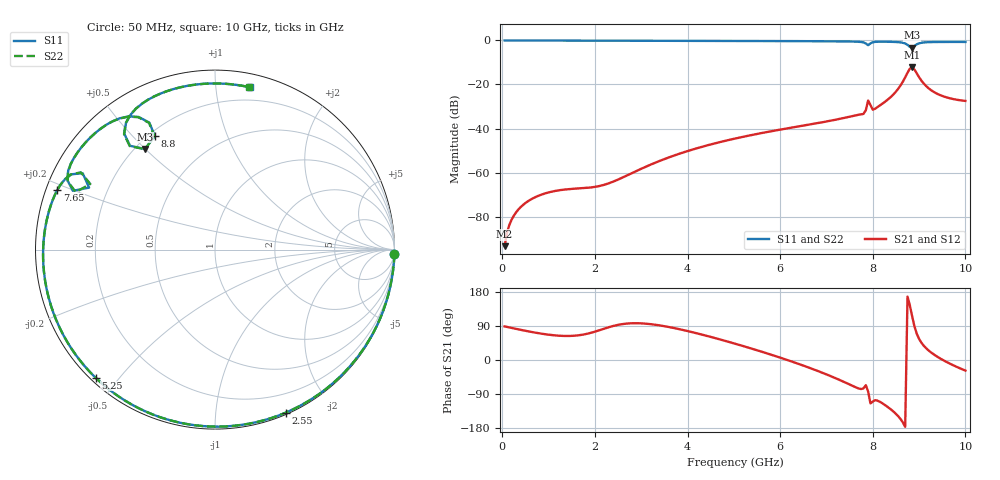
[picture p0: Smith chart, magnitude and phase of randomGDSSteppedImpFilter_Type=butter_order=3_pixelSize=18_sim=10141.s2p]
! freq	dB(S11)	phase(S11)	dB(S12)	phase(S12)
!  dB(S21)	phase(S21)	dB(S22)	phase(S22)
!S-par simulation data
#  GHz  S  DB  R 50
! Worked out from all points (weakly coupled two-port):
!   200 points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, 50 MHz to 10 GHz, reference 50 ohm
!   highest |S21| = -12.22 dB at 8.85 GHz (marker M1); lowest = -93.4 dB at 50 MHz (marker M2)
!   lowest |S11| = -3.3 dB at 8.85 GHz (marker M3), VSWR 5.30, Z = 11.9 + j25 ohm
!   |S11| at or under -10 dB: nowhere
!   |S22| runs from -3.3 to 0.0 dB; largest |S21 - S12| = 0
!   S11 on the Smith chart (normalised r, x): 50 MHz: 0, -85; 2.55 GHz: 0.02, -1.52; 5.25 GHz: 0.01, -0.43; 7.65 GHz: 0.03, +0.18; 8.8 GHz: 0.22, +0.58; 10 GHz: 0.10, +1.23
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0.05  -0.00 -1.4  -93.45 88.6  -93.45 88.6  -0.00 -1.4
0.25  -0.01 -6.7  -79.56 83.4  -79.56 83.4  -0.01 -6.7
0.5  -0.02 -13.4  -73.84 77.1  -73.84 77.1  -0.02 -13.4
0.85  -0.03 -22.6  -69.99 69.4  -69.99 69.4  -0.03 -22.6
1.75  -0.06 -46.1  -67.08 67.1  -67.08 67.1  -0.06 -46.1
2.55  -0.09 -66.5  -62.72 93.9  -62.72 93.9  -0.09 -66.5
3.4  -0.12 -87.6  -54.70 91.3  -54.70 91.3  -0.12 -87.6
5.05  -0.20 -128.1  -44.45 42.2  -44.45 42.2  -0.20 -128.0
5.25  -0.21 -133.0  -43.54 35.0  -43.54 35.0  -0.21 -133.0
6.7  -0.34 -171.0  -37.94 -23.7  -37.94 -23.7  -0.34 -170.9
7.65  -0.55 159.2  -33.92 -73.0  -33.92 -73.0  -0.54 159.4
7.8  -0.89 152.3  -33.35 -74.8  -33.35 -74.8  -0.85 152.6
7.85  -1.40 150.0  -31.67 -66.5  -31.67 -66.5  -1.29 150.1
7.9  -2.14 153.8  -27.26 -83.5  -27.26 -83.5  -2.10 152.2
8  -0.81 154.7  -31.44 -109.6  -31.44 -109.6  -0.88 155.2
8.35  -0.59 138.0  -26.42 -126.4  -26.42 -126.4  -0.59 138.2
8.65  -1.06 123.0  -18.71 -164.8  -18.71 -164.8  -1.06 123.2
8.8  -2.91 118.0  -12.83 144.4  -12.83 144.4  -2.91 118.1
8.85  -3.32 124.8  -12.22 115.5  -12.22 115.5  -3.32 125.0
9  -1.29 125.1  -16.69 55.6  -16.69 55.6  -1.29 125.3
9.3  -0.72 109.1  -23.16 16.2  -23.16 16.2  -0.72 109.3
10  -0.68 78.0  -27.47 -28.0  -27.47 -28.0  -0.68 78.2
